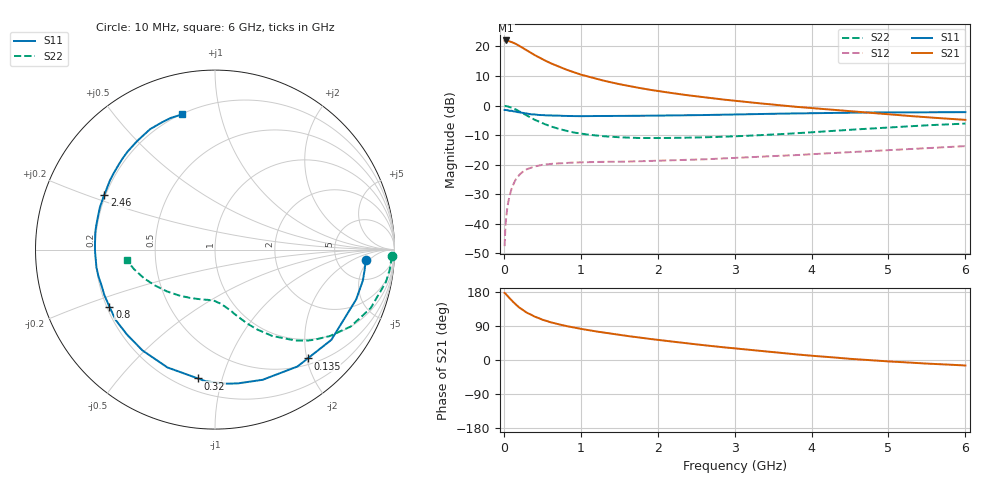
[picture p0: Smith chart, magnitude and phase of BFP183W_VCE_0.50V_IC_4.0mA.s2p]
! Infineon Technologies  Discrete & RF Semiconductors
! BFP183W
! VCE = 0.50V,  IC =  4.0 mA
! Common Emitter S-Parameters:  Jan 2016
# GHz  S  MA  R  50
!  f  S11  S21  S12  S22
! GHz  MAG  ANG  MAG  ANG  MAG  ANG  MAG  ANG
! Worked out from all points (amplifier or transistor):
!   210 points, 10 MHz to 6 GHz, reference 50 ohm
!   highest |S21| = 22.0 dB at 30 MHz (marker M1)
!   |S21| within 3 dB of that: start of sweep to 275.2 MHz
!   unconditionally stable (mu >= 1): 1.702 GHz to end of sweep
!   at 185 MHz: K = 0.14, MSG = 22.2 dB, |S12| = -23.9 dB
!   at 1.52 GHz: K = 0.92, MSG = 13.1 dB, |S12| = -19.0 dB
!   at 6 GHz: K = 1.23, MAG = 1.5 dB, |S12| = -13.7 dB
!   S11 on the Smith chart (normalised r, x): 10 MHz: 10, -4; 135 MHz: 0.61, -2.02; 320 MHz: 0.28, -0.84; 800 MHz: 0.21, -0.24; 2.46 GHz: 0.19, +0.23; 6 GHz: 0.20, +0.77
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0.01  0.8427 -3.9  12.53 177.1  0.0042 90.7  0.9858 -2.2
0.03  0.8415 -11.9  12.63 173.2  0.0125 83.2  0.98 -6.5
0.05  0.8342 -19.4  12.49 168.5  0.0206 78.9  0.9694 -10.7
0.1  0.8204 -37.8  11.93 157.5  0.039 69.9  0.9268 -20.6
0.135  0.7966 -49.6  11.35 150.4  0.0502 63.4  0.8837 -26.8
0.15  0.7971 -54.8  11.16 147.2  0.0551 61.4  0.8686 -29.6
0.2  0.7724 -69.9  10.25 138.5  0.0672 54.1  0.8007 -37.0
0.26  0.7497 -85.1  9.206 130.1  0.0783 46.9  0.7243 -44.4
0.3  0.7354 -94.0  8.536 124.7  0.0841 43.3  0.6765 -48.5
0.32  0.7243 -97.5  8.242 122.9  0.0858 41.6  0.6557 -49.9
0.4  0.7081 -112.0  7.161 114.5  0.0935 35.6  0.5769 -56.5
0.5  0.692 -125.7  6.09 106.4  0.0996 30.6  0.5039 -62.1
0.6  0.6816 -136.0  5.257 100.0  0.1031 26.9  0.449 -66.5
0.8  0.6687 -151.7  4.108 90.1  0.1072 22.5  0.3774 -72.9
1.02  0.663 -163.5  3.295 81.6  0.1098 19.9  0.3334 -78.2
1.4  0.6683 -178.4  2.462 69.2  0.1128 17.9  0.2983 -85.8
2.02  0.6781 163.9  1.752 52.7  0.1168 19.1  0.2825 -97.6
2.46  0.6881 153.7  1.458 42.3  0.1217 20.3  0.2882 -106.4
3.1  0.7107 140.8  1.171 28.6  0.1322 22.4  0.3063 -119.5
4.1  0.747 124.1  0.886 9.8  0.1533 23.7  0.3608 -141.1
5.1  0.7687 112.0  0.694 -4.8  0.1789 22.9  0.4347 -160.1
6  0.7752 103.7  0.574 -14.5  0.2065 20.8  0.4963 -173.4
